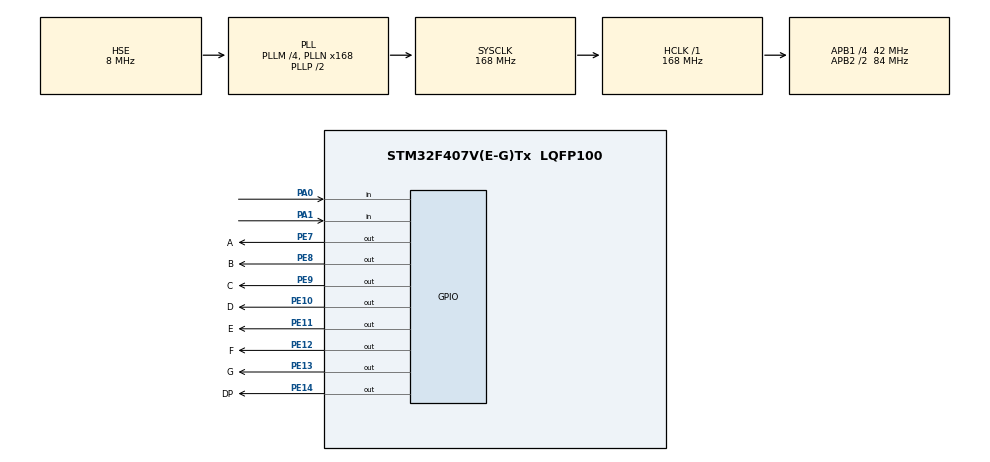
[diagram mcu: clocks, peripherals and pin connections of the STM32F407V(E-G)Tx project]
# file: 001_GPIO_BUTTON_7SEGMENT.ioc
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Mcu.Family=STM32F4
Mcu.Name=STM32F407V(E-G)Tx
Mcu.Package=LQFP100
NVIC.PriorityGroup=NVIC_PRIORITYGROUP_4
PA0-WKUP.GPIO_PuPd=GPIO_PULLDOWN
PA0-WKUP.Signal=GPIO_Input
PA1.GPIO_PuPd=GPIO_PULLDOWN
PA1.Signal=GPIO_Input
PE10.GPIO_Label=D
PE10.GPIO_Speed=GPIO_SPEED_FREQ_VERY_HIGH
PE10.Signal=GPIO_Output
PE11.GPIO_Label=E
PE11.GPIO_Speed=GPIO_SPEED_FREQ_VERY_HIGH
PE11.Signal=GPIO_Output
PE12.GPIO_Label=F
PE12.GPIO_Speed=GPIO_SPEED_FREQ_VERY_HIGH
PE12.Signal=GPIO_Output
PE13.GPIO_Label=G
PE13.GPIO_Speed=GPIO_SPEED_FREQ_VERY_HIGH
PE13.Signal=GPIO_Output
PE14.GPIO_Label=DP
PE14.GPIO_Speed=GPIO_SPEED_FREQ_VERY_HIGH
PE14.Signal=GPIO_Output
PE7.GPIO_Label=A
PE7.GPIO_Speed=GPIO_SPEED_FREQ_VERY_HIGH
PE7.Signal=GPIO_Output
PE8.GPIO_Label=B
PE8.GPIO_Speed=GPIO_SPEED_FREQ_VERY_HIGH
PE8.Signal=GPIO_Output
PE9.GPIO_Label=C
PE9.GPIO_Speed=GPIO_SPEED_FREQ_VERY_HIGH
PE9.Signal=GPIO_Output
PH0-OSC_IN.Mode=HSE-External-Oscillator
PH0-OSC_IN.Signal=RCC_OSC_IN
PH1-OSC_OUT.Mode=HSE-External-Oscillator
PH1-OSC_OUT.Signal=RCC_OSC_OUT
ProjectManager.HeapSize=0x200
ProjectManager.StackSize=0x400
ProjectManager.TargetToolchain=STM32CubeIDE
RCC.48MHZClocksFreq_Value=84000000
RCC.AHBFreq_Value=168000000
RCC.APB1CLKDivider=RCC_HCLK_DIV4
RCC.APB1Freq_Value=42000000
RCC.APB1TimFreq_Value=84000000
RCC.APB2CLKDivider=RCC_HCLK_DIV2
RCC.APB2Freq_Value=84000000
RCC.APB2TimFreq_Value=168000000
RCC.CortexFreq_Value=168000000
RCC.HCLKFreq_Value=168000000
RCC.HSE_VALUE=8000000
RCC.HSI_VALUE=16000000
RCC.LSE_VALUE=32768
RCC.PLLM=4
RCC.PLLN=168
RCC.PLLSourceVirtual=RCC_PLLSOURCE_HSE
RCC.SYSCLKFreq_VALUE=168000000
RCC.SYSCLKSource=RCC_SYSCLKSOURCE_PLLCLK
RCC.VCOOutputFreq_Value=336000000
board=custom

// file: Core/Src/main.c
/* USER CODE BEGIN Header */
/**
  ******************************************************************************
  * @file           : main.c
  * @brief          : Main program body
  ******************************************************************************
  * @attention
  *
  * Copyright (c) 2024 STMicroelectronics.
  * All rights reserved.
  *
  * This software is licensed under terms that can be found in the LICENSE file
  * in the root directory of this software component.
  * If no LICENSE file comes with this software, it is provided AS-IS.
  *
  ******************************************************************************
  */
/* USER CODE END Header */
#include "main.h"

/* USER CODE BEGIN Includes */
#include "Display_Driver.h"
/* USER CODE END Includes */

void SystemClock_Config(void);
static void MX_GPIO_Init(void);

int main(void)
{

  /* USER CODE BEGIN 1 */
	uint8_t counter;
  /* USER CODE END 1 */

  /* MCU Configuration--------------------------------------------------------*/

  /* Reset of all peripherals, Initializes the Flash interface and the Systick. */
  HAL_Init();

  /* Configure the system clock */
  SystemClock_Config();

  /* Initialize all configured peripherals */
  MX_GPIO_Init();

  /* Infinite loop */
  while (1)
  {

    /* USER CODE BEGIN 3 */
	  if (HAL_GPIO_ReadPin(GPIOA, GPIO_PIN_0)) // değerleri artıran buton kontrol edilir
	  {
		  while(HAL_GPIO_ReadPin(GPIOA, GPIO_PIN_0)); // butondan elimizin çekilmesi bekleniyor
		  HAL_Delay(100); // buton arkını önlemek için beklenir
		  if (counter == 15) // sayacın 15'ten fazla olması durumunda sayaç 0 değerine döner
			  counter = 0;
		  else
			  counter++;
	  }
	  if (HAL_GPIO_ReadPin(GPIOA, GPIO_PIN_1)) // değerleri azaltan buton kontrol edilir
	  {
		  while(HAL_GPIO_ReadPin(GPIOA, GPIO_PIN_1)); // butondan elimizin çekilmesi bekleniyor
		  HAL_Delay(100); // buton arkını önlemek için beklenir
		  if (counter == 0) // sayacın 0'dan az olması durumunda sayaç 15(F) değerine döner
			  counter = 15;
		  else
			  counter--;
	  }
	  display(counter);
  }
  /* USER CODE END 3 */
}

void SystemClock_Config(void)
{
  RCC_OscInitTypeDef RCC_OscInitStruct = {0};
  RCC_ClkInitTypeDef RCC_ClkInitStruct = {0};

  /** Configure the main internal regulator output voltage
  */
  __HAL_RCC_PWR_CLK_ENABLE();
  __HAL_PWR_VOLTAGESCALING_CONFIG(PWR_REGULATOR_VOLTAGE_SCALE1);

  /** Initializes the RCC Oscillators according to the specified parameters
  * in the RCC_OscInitTypeDef structure.
  */
  RCC_OscInitStruct.OscillatorType = RCC_OSCILLATORTYPE_HSE;
  RCC_OscInitStruct.HSEState = RCC_HSE_ON;
  RCC_OscInitStruct.PLL.PLLState = RCC_PLL_ON;
  RCC_OscInitStruct.PLL.PLLSource = RCC_PLLSOURCE_HSE;
  RCC_OscInitStruct.PLL.PLLM = 4;
  RCC_OscInitStruct.PLL.PLLN = 168;
  RCC_OscInitStruct.PLL.PLLP = RCC_PLLP_DIV2;
  RCC_OscInitStruct.PLL.PLLQ = 4;
  if (HAL_RCC_OscConfig(&RCC_OscInitStruct) != HAL_OK)
  {
    Error_Handler();
  }

  /** Initializes the CPU, AHB and APB buses clocks
  */
  RCC_ClkInitStruct.ClockType = RCC_CLOCKTYPE_HCLK|RCC_CLOCKTYPE_SYSCLK
                              |RCC_CLOCKTYPE_PCLK1|RCC_CLOCKTYPE_PCLK2;
  RCC_ClkInitStruct.SYSCLKSource = RCC_SYSCLKSOURCE_PLLCLK;
  RCC_ClkInitStruct.AHBCLKDivider = RCC_SYSCLK_DIV1;
  RCC_ClkInitStruct.APB1CLKDivider = RCC_HCLK_DIV4;
  RCC_ClkInitStruct.APB2CLKDivider = RCC_HCLK_DIV2;

  if (HAL_RCC_ClockConfig(&RCC_ClkInitStruct, FLASH_LATENCY_5) != HAL_OK)
  {
    Error_Handler();
  }
}

static void MX_GPIO_Init(void)
{
  GPIO_InitTypeDef GPIO_InitStruct = {0};

  /* GPIO Ports Clock Enable */
  __HAL_RCC_GPIOH_CLK_ENABLE();
  __HAL_RCC_GPIOA_CLK_ENABLE();
  __HAL_RCC_GPIOE_CLK_ENABLE();

  /*Configure GPIO pin Output Level */
  HAL_GPIO_WritePin(GPIOE, A_Pin|B_Pin|C_Pin|D_Pin
                          |E_Pin|F_Pin|G_Pin|DP_Pin, GPIO_PIN_RESET);

  /*Configure GPIO pins : PA0 PA1 */
  GPIO_InitStruct.Pin = GPIO_PIN_0|GPIO_PIN_1;
  GPIO_InitStruct.Mode = GPIO_MODE_INPUT;
  GPIO_InitStruct.Pull = GPIO_PULLDOWN;
  HAL_GPIO_Init(GPIOA, &GPIO_InitStruct);

  /*Configure GPIO pins : A_Pin B_Pin C_Pin D_Pin
                           E_Pin F_Pin G_Pin DP_Pin */
  GPIO_InitStruct.Pin = A_Pin|B_Pin|C_Pin|D_Pin
                          |E_Pin|F_Pin|G_Pin|DP_Pin;
  GPIO_InitStruct.Mode = GPIO_MODE_OUTPUT_PP;
  GPIO_InitStruct.Pull = GPIO_NOPULL;
  GPIO_InitStruct.Speed = GPIO_SPEED_FREQ_VERY_HIGH;
  HAL_GPIO_Init(GPIOE, &GPIO_InitStruct);

}

void Error_Handler(void)
{
  __disable_irq();
  while (1)
  {
  }
}
